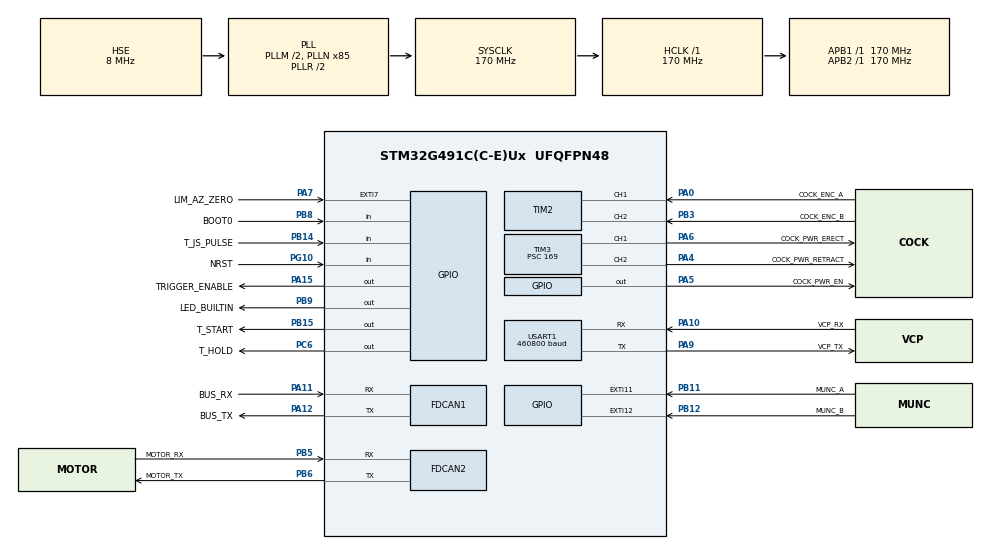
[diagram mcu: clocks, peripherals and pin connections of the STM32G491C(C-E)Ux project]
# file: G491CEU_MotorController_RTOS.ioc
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FDCAN1.ClockDivider=FDCAN_CLOCK_DIV1
FDCAN1.DataSyncJumpWidth=8
FDCAN1.DataTimeSeg1=8
FDCAN1.DataTimeSeg2=8
FDCAN1.ExtFiltersNbr=8
FDCAN1.NominalPrescaler=2
FDCAN1.NominalSyncJumpWidth=22
FDCAN1.NominalTimeSeg1=147
FDCAN1.NominalTimeSeg2=22
FDCAN1.StdFiltersNbr=28
FDCAN2.DataPrescaler=1
FDCAN2.DataSyncJumpWidth=16
FDCAN2.DataTimeSeg1=17
FDCAN2.DataTimeSeg2=16
FDCAN2.ExtFiltersNbr=8
FDCAN2.FrameFormat=FDCAN_FRAME_CLASSIC
FDCAN2.NominalSyncJumpWidth=22
FDCAN2.NominalTimeSeg1=147
FDCAN2.NominalTimeSeg2=22
FDCAN2.StdFiltersNbr=28
FREERTOS.INCLUDE_uxTaskGetStackHighWaterMark2=1
FREERTOS.INCLUDE_vTaskDelayUntil=1
FREERTOS.Mutexes01=mx_motor_state,Dynamic,NULL;mx_weapon_state,Dynamic,NULL
FREERTOS.Queues01=q_manager,6,uint16_t,0,Dynamic,NULL,NULL
FREERTOS.Tasks01=TManager,2,512,t_manager,As weak,NULL,Dynamic,NULL,NULL;TBus,-2,1024,t_bus,As external,NULL,Dynamic,NULL,NULL;TMotor,-1,1024,t_motor,As external,NULL,Dynamic,NULL,NULL;TWeapon,1,1024,t_weapon,As external,NULL,Dynamic,NULL,NULL
FREERTOS.Timers01=timWeapon,tim_weapon_callback,osTimerPeriodic,As external,NULL,Dynamic,NULL;timMotor,tim_motor_callback,osTimerPeriodic,As external,NULL,Dynamic,NULL
FREERTOS.configENABLE_FPU=1
FREERTOS.configMAX_TASK_NAME_LEN=64
FREERTOS.configMINIMAL_STACK_SIZE=256
FREERTOS.configTOTAL_HEAP_SIZE=0x10000
FREERTOS.configUSE_TIMERS=1
IWDG.Prescaler=IWDG_PRESCALER_256
IWDG.Reload=625
IWDG.Window=625
Mcu.Family=STM32G4
Mcu.Name=STM32G491C(C-E)Ux
Mcu.Package=UFQFPN48
Mcu.UserConstants=RTOS_USE_STACK_HIGH_WATER,0;START_ARR_60ms,6000;START_ARR_100ms,10000;START_ARR_300ms,30000
NVIC.EXTI15_10_IRQn=true\:5\:0\:false\:false\:false\:true\:true\:true\:true
NVIC.FDCAN1_IT0_IRQn=true\:5\:0\:true\:false\:true\:true\:true\:true\:true
NVIC.FDCAN2_IT0_IRQn=true\:5\:0\:true\:false\:true\:true\:true\:true\:true
NVIC.PriorityGroup=NVIC_PRIORITYGROUP_4
NVIC.TIM7_IRQn=true\:15\:0\:false\:false\:true\:false\:false\:true\:true
NVIC.TimeBase=TIM7_IRQn
NVIC.TimeBaseIP=TIM7
PA0.GPIO_Label=COCK_ENC_A
PA0.GPIO_PuPd=GPIO_PULLUP
PA0.Signal=S_TIM2_CH1
PA1.GPIO_Label=IMU_DE
PA1.Signal=USART2_DE
PA10.GPIO_Label=VCP_RX
PA10.GPIO_PuPd=GPIO_PULLUP
PA10.Mode=Asynchronous
PA10.Signal=USART1_RX
PA11.GPIO_Label=BUS_RX
PA11.GPIO_Speed=GPIO_SPEED_FREQ_VERY_HIGH
PA11.Mode=FDCAN_Activate
PA11.Signal=FDCAN1_RX
PA12.GPIO_Label=BUS_TX
PA12.GPIO_Speed=GPIO_SPEED_FREQ_VERY_HIGH
PA12.Mode=FDCAN_Activate
PA12.Signal=FDCAN1_TX
PA13.Mode=Serial_Wire
PA13.Signal=SYS_JTMS-SWDIO
PA14.Mode=Serial_Wire
PA14.Signal=SYS_JTCK-SWCLK
PA15.GPIO_Label=TRIGGER_ENABLE
PA15.GPIO_ModeDefaultOutputPP=GPIO_MODE_OUTPUT_PP
PA15.GPIO_PuPd=GPIO_NOPULL
PA15.PinState=GPIO_PIN_RESET
PA15.Signal=GPIO_Output
PA2.GPIO_Label=IMU_RX
PA2.Signal=USART2_TX
PA3.GPIO_Label=IMU_TX
PA3.GPIO_PuPd=GPIO_PULLUP
PA3.Signal=USART2_RX
PA4.GPIO_Label=COCK_PWR_RETRACT
PA4.Signal=S_TIM3_CH2
PA5.GPIO_Label=COCK_PWR_EN
PA5.GPIO_PuPd=GPIO_PULLDOWN
PA5.Signal=GPIO_Output
PA6.GPIO_Label=COCK_PWR_ERECT
PA6.Signal=S_TIM3_CH1
PA7.GPIO_Label=LIM_AZ_ZERO
PA7.GPIO_ModeDefaultEXTI=GPIO_MODE_IT_RISING_FALLING
PA7.GPIO_PuPd=GPIO_PULLUP
PA7.Signal=GPXTI7
PA9.GPIO_Label=VCP_TX
PA9.Mode=Asynchronous
PA9.Signal=USART1_TX
PB11.GPIO_Label=MUNC_A
PB11.GPIO_ModeDefaultEXTI=GPIO_MODE_IT_FALLING
PB11.GPIO_PuPd=GPIO_PULLUP
PB11.Signal=GPXTI11
PB12.GPIO_Label=MUNC_B
PB12.GPIO_ModeDefaultEXTI=GPIO_MODE_IT_FALLING
PB12.GPIO_PuPd=GPIO_PULLUP
PB12.Signal=GPXTI12
PB14.GPIO_Label=T_JS_PULSE
PB14.GPIO_PuPd=GPIO_PULLUP
PB14.Signal=GPIO_Input
PB15.GPIO_Label=T_START
PB15.Signal=GPIO_Output
PB3.GPIO_Label=COCK_ENC_B
PB3.GPIO_PuPd=GPIO_PULLUP
PB3.Signal=S_TIM2_CH2
PB5.GPIO_Label=MOTOR_RX
PB5.GPIO_Speed=GPIO_SPEED_FREQ_VERY_HIGH
PB5.Mode=FDCAN_Activate
PB5.Signal=FDCAN2_RX
PB6.GPIO_Label=MOTOR_TX
PB6.GPIO_Speed=GPIO_SPEED_FREQ_VERY_HIGH
PB6.Mode=FDCAN_Activate
PB6.Signal=FDCAN2_TX
PB8-BOOT0.GPIO_Label=BOOT0
PB8-BOOT0.GPIO_PuPd=GPIO_PULLDOWN
PB8-BOOT0.Signal=GPIO_Input
PB9.GPIO_Label=LED_BUILTIN
PB9.PinState=GPIO_PIN_SET
PB9.Signal=GPIO_Output
PC13.Signal=SYS_WKUP2
PC6.GPIO_Label=T_HOLD
PC6.Signal=GPIO_Output
PF0-OSC_IN.Mode=HSE-External-Oscillator
PF0-OSC_IN.Signal=RCC_OSC_IN
PF1-OSC_OUT.Mode=HSE-External-Oscillator
PF1-OSC_OUT.Signal=RCC_OSC_OUT
PG10-NRST.GPIO_Label=NRST
PG10-NRST.GPIO_PuPd=GPIO_PULLUP
PG10-NRST.Signal=GPIO_Input
ProjectManager.HeapSize=0x200
ProjectManager.StackSize=0x400
ProjectManager.TargetToolchain=STM32CubeIDE
RCC.ADC12Freq_Value=170000000
RCC.ADC345Freq_Value=170000000
RCC.AHBFreq_Value=170000000
RCC.APB1Freq_Value=170000000
RCC.APB1TimFreq_Value=170000000
RCC.APB2Freq_Value=170000000
RCC.APB2TimFreq_Value=170000000
RCC.CortexFreq_Value=170000000
RCC.EXTERNAL_CLOCK_VALUE=12288000
RCC.EnbaleCSS=true
RCC.HCLKFreq_Value=170000000
RCC.HSE_VALUE=8000000
RCC.HSI48_VALUE=48000000
RCC.HSI_VALUE=16000000
RCC.LSE_VALUE=32768
RCC.PLLM=RCC_PLLM_DIV2
RCC.PLLN=85
RCC.PLLSourceVirtual=RCC_PLLSOURCE_HSE
RCC.SYSCLKFreq_VALUE=170000000
RCC.SYSCLKSource=RCC_SYSCLKSOURCE_PLLCLK
RCC.USBFreq_Value=48000000
RCC.VCOOutputFreq_Value=340000000
SH.S_TIM2_CH1.0=TIM2_CH1,Encoder_Interface
SH.S_TIM2_CH2.0=TIM2_CH2,Encoder_Interface
SH.S_TIM3_CH1.0=TIM3_CH1,PWM Generation1 CH1
SH.S_TIM3_CH2.0=TIM3_CH2,PWM Generation2 CH2
TIM3.Channel-PWM\ Generation1\ CH1=TIM_CHANNEL_1
TIM3.Channel-PWM\ Generation2\ CH2=TIM_CHANNEL_2
TIM3.PeriodNoDither=999
TIM3.Prescaler=169
USART1.BaudRate=460800
USART1.VirtualMode-Asynchronous=VM_ASYNC
VP_FREERTOS_VS_CMSIS_V1.Mode=CMSIS_V1
VP_IWDG_VS_IWDG.Mode=IWDG_Activate
VP_SYS_VS_DBSignals.Mode=DisableDeadBatterySignals
VP_SYS_VS_tim7.Mode=TIM7
VP_TIM3_VS_ClockSourceINT.Mode=Internal
board=custom

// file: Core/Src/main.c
/* USER CODE BEGIN Header */
/**
 ******************************************************************************
 * @file           : main.c
 * @brief          : Main program body
 ******************************************************************************
 * @attention
 *
 * Copyright (c) 2022 STMicroelectronics.
 * All rights reserved.
 *
 * This software is licensed under terms that can be found in the LICENSE file
 * in the root directory of this software component.
 * If no LICENSE file comes with this software, it is provided AS-IS.
 *
 ******************************************************************************
 */
/* USER CODE END Header */
#include "main.h"
#include "cmsis_os.h"
#include "fdcan.h"
#include "iwdg.h"
#include "tim.h"
#include "usart.h"
#include "gpio.h"

/* USER CODE BEGIN Includes */
#include <stdio.h>
#include <string.h>

#include "app/common.h"
#include "driver/uartTerminal/uartTerminal.h"
#include "driver/bus_fdcan/bus_fdcan.h"
#include "driver/ingenia/ingenia.h"
#include "driver/weapon/trigger.h"
/* USER CODE END Includes */

/* USER CODE BEGIN PD */
#if DEBUG_ENABLE==1
/*** Internal Const Values, Macros ***/
#	define LOG(str, ...) printf("[%ld %s:%d] " str, HAL_GetTick(), __FILE_NAME__, __LINE__, ##__VA_ARGS__)
#	define LOG_E(str, ...) printf("[%s Err:%d] " str, __FILE_NAME__, __LINE__, ##__VA_ARGS__)
#else
#	define LOG(str, ...)
#	define LOG_E(str, ...)

#endif	//if DEBUG_ENABLE==1

/* USER CODE END PD */

/* USER CODE BEGIN PV */
reset_cause_e g_reset_cause = RESET_CAUSE_UNKNOWN;
/* USER CODE END PV */

void SystemClock_Config(void);
void MX_FREERTOS_Init(void);

/* USER CODE BEGIN 0 */
static reset_cause_e get_reset_source()
{
	reset_cause_e ret = RESET_CAUSE_UNKNOWN;

	if (__HAL_RCC_GET_FLAG(RCC_FLAG_LPWRRST))
		ret = RESET_CAUSE_LOW_POWER_RESET;
	else if (__HAL_RCC_GET_FLAG(RCC_FLAG_WWDGRST))
		ret = RESET_CAUSE_WINDOW_WATCHDOG_RESET;
	else if (__HAL_RCC_GET_FLAG(RCC_FLAG_IWDGRST))
		ret = RESET_CAUSE_INDEPENDENT_WATCHDOG_RESET;
	else if (__HAL_RCC_GET_FLAG(RCC_FLAG_SFTRST))
		/* This reset is induced by calling the ARM CMSIS */
		/* `NVIC_SystemReset()` function! */
		ret = RESET_CAUSE_SOFTWARE_RESET;
	else if (__HAL_RCC_GET_FLAG(RCC_FLAG_PINRST))
		ret = RESET_CAUSE_EXTERNAL_RESET_PIN_RESET;

	return ret;
}

/* USER CODE END 0 */

int main(void)
{
	/* USER CODE BEGIN 1 */
	g_reset_cause = get_reset_source();
	__HAL_RCC_CLEAR_RESET_FLAGS();
	/* USER CODE END 1 */

	/* MCU Configuration--------------------------------------------------------*/

	/* Reset of all peripherals, Initializes the Flash interface and the Systick. */
	HAL_Init();

	/* Configure the system clock */
	SystemClock_Config();

	/* Initialize all configured peripherals */
	MX_GPIO_Init();
	MX_USART1_UART_Init();
	MX_TIM2_Init();
	MX_TIM3_Init();
	MX_FDCAN1_Init();
	MX_FDCAN2_Init();
	MX_IWDG_Init();
	/* USER CODE BEGIN 2 */
	retarget_init();

	LOG("====\r\n");
	LOG("MotorController firmware!\r\n");
	LOG("====\r\n");

	if ((g_reset_cause == RESET_CAUSE_INDEPENDENT_WATCHDOG_RESET) || (g_reset_cause == RESET_CAUSE_SOFTWARE_RESET)) {
		LOG("system is reset from IWDG or s/w reset!\r\n");
	}

	if (g_reset_cause == RESET_CAUSE_EXTERNAL_RESET_PIN_RESET)
		LOG("do you reset this chip?\r\n");

	/* USER CODE END 2 */

	/* Call init function for freertos objects (in freertos.c) */
	MX_FREERTOS_Init();

	/* Start scheduler */
	osKernelStart();

	/* We should never get here as control is now taken by the scheduler */
	/* Infinite loop */
	while (1) {

	}
}

void SystemClock_Config(void)
{
	RCC_OscInitTypeDef RCC_OscInitStruct = { 0 };
	RCC_ClkInitTypeDef RCC_ClkInitStruct = { 0 };

	/** Configure the main internal regulator output voltage
	 */
	HAL_PWREx_ControlVoltageScaling(PWR_REGULATOR_VOLTAGE_SCALE1_BOOST);

	/** Initializes the RCC Oscillators according to the specified parameters
	 * in the RCC_OscInitTypeDef structure.
	 */
	RCC_OscInitStruct.OscillatorType = RCC_OSCILLATORTYPE_LSI | RCC_OSCILLATORTYPE_HSE;
	RCC_OscInitStruct.HSEState = RCC_HSE_ON;
	RCC_OscInitStruct.LSIState = RCC_LSI_ON;
	RCC_OscInitStruct.PLL.PLLState = RCC_PLL_ON;
	RCC_OscInitStruct.PLL.PLLSource = RCC_PLLSOURCE_HSE;
	RCC_OscInitStruct.PLL.PLLM = RCC_PLLM_DIV2;
	RCC_OscInitStruct.PLL.PLLN = 85;
	RCC_OscInitStruct.PLL.PLLP = RCC_PLLP_DIV2;
	RCC_OscInitStruct.PLL.PLLQ = RCC_PLLQ_DIV2;
	RCC_OscInitStruct.PLL.PLLR = RCC_PLLR_DIV2;
	if (HAL_RCC_OscConfig(&RCC_OscInitStruct) != HAL_OK) {
		Error_Handler();
	}

	/** Initializes the CPU, AHB and APB buses clocks
	 */
	RCC_ClkInitStruct.ClockType = RCC_CLOCKTYPE_HCLK | RCC_CLOCKTYPE_SYSCLK | RCC_CLOCKTYPE_PCLK1 | RCC_CLOCKTYPE_PCLK2;
	RCC_ClkInitStruct.SYSCLKSource = RCC_SYSCLKSOURCE_PLLCLK;
	RCC_ClkInitStruct.AHBCLKDivider = RCC_SYSCLK_DIV1;
	RCC_ClkInitStruct.APB1CLKDivider = RCC_HCLK_DIV1;
	RCC_ClkInitStruct.APB2CLKDivider = RCC_HCLK_DIV1;

	if (HAL_RCC_ClockConfig(&RCC_ClkInitStruct, FLASH_LATENCY_4) != HAL_OK) {
		Error_Handler();
	}

	/** Enables the Clock Security System
	 */
	HAL_RCC_EnableCSS();
}

/* USER CODE BEGIN 4 */
/* TODO User Functions */
uint32_t HAL_GetTick(void)
{
	return osKernelSysTick();
}

void HAL_Delay(uint32_t Delay)
{
	osDelay(Delay);
}

//void HAL_GPIO_EXTI_Callback(uint16_t GPIO_Pin)
//{
//	if (GPIO_Pin == T_JS_PULSE_Pin) {
//		trig_pulse_on();
//		t_js_counter++;
//	}
//}

void HAL_TIM_TriggerCallback(TIM_HandleTypeDef *htim)
{

//	if (htim->Instance == htim15.Instance) {
//		trig_start();
////		HAL_GPIO_WritePin(T_HOLD_GPIO_Port, T_HOLD_Pin, GPIO_PIN_SET);
////		MAIL_Weapon_t *pTMail;
////		// allocate memory; receiver must be free it
////		pTMail = osMailAlloc(mtr_get_mail(T_Weapon_id), 0);
////		pTMail->sender_id = Weapon_Sender_Sensor_Trigger_id;
////		pTMail->param.sensor.trigger.pulse_on = 1;
////
////		osMailPut(mtr_get_mail(T_Weapon_id), pTMail);
//	}

//	if (htim->Instance == htim15.Instance) {
//		if (firing_mode != FIRE_MODE_INF) {
//			__HAL_TIM_SET_COUNTER(&htim16, 0);
//			HAL_TIM_Base_Start_IT(&htim16);
//		}
//		HAL_GPIO_WritePin(T_HOLD_GPIO_Port, T_HOLD_Pin, GPIO_PIN_SET);
//		LOG("Trigger start!\r\n");
//	}

}

/**
 * @brief  Rx FIFO 0 callback.
 * @param  hfdcan pointer to an FDCAN_HandleTypeDef structure that contains
 *         the configuration information for the specified FDCAN.
 * @param  RxFifo0ITs indicates which Rx FIFO 0 interrupts are signalled.
 *         This parameter can be any combination of @arg FDCAN_Rx_Fifo0_Interrupts.
 * @retval None
 */
void HAL_FDCAN_RxFifo0Callback(FDCAN_HandleTypeDef *hfdcan, uint32_t RxFifo0ITs)
{
	FDCAN_RxHeaderTypeDef RxHeader;
	uint8_t RxData[64];
	BUS_Rx_Buffer_t bus_buffer;
	CAN_Data_t ingenia_buffer;

	if ((RxFifo0ITs & FDCAN_IT_RX_FIFO0_NEW_MESSAGE) != RESET) {
		if (hfdcan->Instance == hfdcan2.Instance) {
//			Ingenia_IRQHandler(hfdcan);
			/* Retrieve Rx messages from RX FIFO0 */
			if (HAL_FDCAN_GetRxMessage(hfdcan, FDCAN_RX_FIFO0, &RxHeader, RxData) == HAL_OK) {
				if (RxHeader.IdType == FDCAN_STANDARD_ID) {
					ingenia_buffer.id = RxHeader.Identifier;
					ingenia_buffer.len = FDCAN_Convert_Datalength(RxHeader.DataLength);
					memcpy(ingenia_buffer.rxData, RxData, ingenia_buffer.len);

					Ingenia_rx_callback(&ingenia_buffer);
				}
			}
		}
		else if (hfdcan->Instance == hfdcan1.Instance) {
			/* Retrieve Rx messages from RX FIFO0 */
			if (HAL_FDCAN_GetRxMessage(hfdcan, FDCAN_RX_FIFO0, &RxHeader, RxData) == HAL_OK) {
				if (RxHeader.IdType == FDCAN_STANDARD_ID) {
					bus_buffer.lastTimestamp = HAL_GetTick();
					bus_buffer.id = RxHeader.Identifier;
					bus_buffer.len = FDCAN_Convert_Datalength(RxHeader.DataLength);
					memcpy(bus_buffer.data, RxData, bus_buffer.len);
					bus_buffer.counter++;

					bus_rx_callback(&bus_buffer);
				}
			}
		}
	}

}

/**
 * @brief  Rx FIFO 1 callback.
 * @param  hfdcan pointer to an FDCAN_HandleTypeDef structure that contains
 *         the configuration information for the specified FDCAN.
 * @param  RxFifo1ITs indicates which Rx FIFO 1 interrupts are signalled.
 *         This parameter can be any combination of @arg FDCAN_Rx_Fifo1_Interrupts.
 * @retval None
 */
void HAL_FDCAN_RxFifo1Callback(FDCAN_HandleTypeDef *hfdcan, uint32_t RxFifo1ITs)
{
	/* Prevent unused argument(s) compilation warning */
	UNUSED(hfdcan);
	UNUSED(RxFifo1ITs);

	/* NOTE : This function Should not be modified, when the callback is needed,
	 the HAL_FDCAN_RxFifo1Callback could be implemented in the user file
	 */
}

/**
 * @brief  Error status callback.
 * @param  hfdcan pointer to an FDCAN_HandleTypeDef structure that contains
 *         the configuration information for the specified FDCAN.
 * @param  ErrorStatusITs indicates which Error Status interrupts are signaled.
 *         This parameter can be any combination of @arg FDCAN_Error_Status_Interrupts.
 * @retval None
 */
void HAL_FDCAN_ErrorStatusCallback(FDCAN_HandleTypeDef *hfdcan, uint32_t ErrorStatusITs)
{
	/* Prevent unused argument(s) compilation warning */
	if (hfdcan->Instance == hfdcan1.Instance) {
		MX_FDCAN1_Init();
		bus_init();
		LOG("\r\n===BUS ERROR!===\r\n\r\n");
	}
	else if (hfdcan->Instance == hfdcan2.Instance)
		mtr_error_callback();

	/* NOTE : This function Should not be modified, when the callback is needed,
	 the HAL_FDCAN_ErrorStatusCallback could be implemented in the user file
	 */
}

/* USER CODE END 4 */

void HAL_TIM_PeriodElapsedCallback(TIM_HandleTypeDef *htim)
{
	if (htim->Instance == TIM7) {
		HAL_IncTick();
	}
}

void Error_Handler(void)
{
	__disable_irq();
	while (1) {
	}
}

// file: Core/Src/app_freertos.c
/* USER CODE BEGIN Header */
/**
 ******************************************************************************
 * File Name          : app_freertos.c
 * Description        : Code for freertos applications
 ******************************************************************************
 * @attention
 *
 * Copyright (c) 2022 STMicroelectronics.
 * All rights reserved.
 *
 * This software is licensed under terms that can be found in the LICENSE file
 * in the root directory of this software component.
 * If no LICENSE file comes with this software, it is provided AS-IS.
 *
 ******************************************************************************
 */
/* USER CODE END Header */

#include "FreeRTOS.h"
#include "task.h"
#include "main.h"
#include "cmsis_os.h"

/* USER CODE BEGIN Includes */
#include "app/common.h"
/* USER CODE END Includes */

/* USER CODE BEGIN Variables */
osMailQId mail_busHandle;
osMailQId mail_motorHandle;
osMailQId mail_motorExtHandle;
osMailQId mail_weaponHandle;
/* USER CODE END Variables */
osThreadId TManagerHandle;
osThreadId TBusHandle;
osThreadId TMotorHandle;
osThreadId TWeaponHandle;
osMessageQId q_managerHandle;
osTimerId timWeaponHandle;
osTimerId timMotorHandle;
osMutexId mx_motor_stateHandle;
osMutexId mx_weapon_stateHandle;

/* USER CODE BEGIN FunctionPrototypes */
static void mail_setup();
/* USER CODE END FunctionPrototypes */

void t_manager(void const *argument);
extern void t_bus(void const *argument);
extern void t_motor(void const *argument);
extern void t_weapon(void const *argument);
extern void tim_weapon_callback(void const *argument);
extern void tim_motor_callback(void const *argument);

void MX_FREERTOS_Init(void); /* (MISRA C 2004 rule 8.1) */

void MX_FREERTOS_Init(void)
{
	/* Create the mutex(es) */
	/* definition and creation of mx_motor_state */
	osMutexDef(mx_motor_state);
	mx_motor_stateHandle = osMutexCreate(osMutex(mx_motor_state));

	/* definition and creation of mx_weapon_state */
	osMutexDef(mx_weapon_state);
	mx_weapon_stateHandle = osMutexCreate(osMutex(mx_weapon_state));

	/* Create the timer(s) */
	/* definition and creation of timWeapon */
	osTimerDef(timWeapon, tim_weapon_callback);
	timWeaponHandle = osTimerCreate(osTimer(timWeapon), osTimerPeriodic, NULL);

	/* definition and creation of timMotor */
	osTimerDef(timMotor, tim_motor_callback);
	timMotorHandle = osTimerCreate(osTimer(timMotor), osTimerPeriodic, NULL);

	/* Create the queue(s) */
	/* definition and creation of q_manager */
	osMessageQDef(q_manager, 6, uint16_t);
	q_managerHandle = osMessageCreate(osMessageQ(q_manager), NULL);

	/* USER CODE BEGIN RTOS_QUEUES */
	/* add queues, ... */
	mail_setup();
	/* USER CODE END RTOS_QUEUES */

	/* Create the thread(s) */
	/* definition and creation of TManager */
	osThreadDef(TManager, t_manager, osPriorityHigh, 0, 512);
	TManagerHandle = osThreadCreate(osThread(TManager), NULL);

	/* definition and creation of TBus */
	osThreadDef(TBus, t_bus, osPriorityLow, 0, 1024);
	TBusHandle = osThreadCreate(osThread(TBus), NULL);

	/* definition and creation of TMotor */
	osThreadDef(TMotor, t_motor, osPriorityNormal, 0, 1024);
	TMotorHandle = osThreadCreate(osThread(TMotor), NULL);

	/* definition and creation of TWeapon */
	osThreadDef(TWeapon, t_weapon, osPriorityAboveNormal, 0, 1024);
	TWeaponHandle = osThreadCreate(osThread(TWeapon), NULL);

}

__weak void t_manager(void const *argument)
{
	for ( ;; ) {
		osDelay(1);
	}
}

/* USER CODE BEGIN Application */
osMessageQId opt_get_queue(const Queue_ID qID)
{
	switch (qID)
	{
	case Q_MANAGER_NOTIF:
		return q_managerHandle;
	default:
		return 0;
	}
}

osMailQId mtr_get_mail(const Mail_ID id)
{
	if (id == Mail_Bus_id)
		return mail_busHandle;
	else if (id == Mail_Motor_id)
		return mail_motorHandle;
	else if (id == Mail_Weapon_id)
		return mail_weaponHandle;
	else if (id == Mail_Motor_Ext_id)
		return mail_motorExtHandle;

	return NULL;
}

osTimerId mtr_get_timer(const Timer_ID tID)
{
	switch (tID)
	{
	case Tim_Weapon_id:
		return timWeaponHandle;
	case Tim_Motor_id:
		return timMotorHandle;
	default:
		return NULL;
	}
}

osMutexId mtr_get_mutex(const Mutex_ID mId)
{
	switch (mId)
	{
	case Mutex_Motor_id:
		return mx_motor_stateHandle;
	case Mutex_Weapon_id:
		return mx_weapon_stateHandle;
	default:
		return NULL;
	}
}

static void mail_setup()
{
	/* Create the mail queue used by the command_proc tasks to pass the struct MAIL_Bus_t */
	osMailQDef(mail_bus, 10, MAIL_Bus_t); /* Define mail queue */
	mail_busHandle = osMailCreate(osMailQ(mail_bus), NULL); /* create mail queue */

	/* Create the mail queue used by the command_proc tasks to pass the struct MAIL_Motor_t */
	osMailQDef(mail_motor, 20, MAIL_Motor_t); /* Define mail queue */
	mail_motorHandle = osMailCreate(osMailQ(mail_motor), NULL); /* create mail queue */

	/* Create the mail queue used by the command_proc tasks to pass the struct MAIL_Motor_t */
	osMailQDef(mail_motor_ext, 10, MAIL_Motor_Ext_t); /* Define mail queue */
	mail_motorExtHandle = osMailCreate(osMailQ(mail_motor_ext), NULL); /* create mail queue */

	/* Create the mail queue used by the command_proc tasks to pass the struct MAIL_Weapon_t */
	osMailQDef(mail_weapon, 10, MAIL_Weapon_t); /* Define mail queue */
	mail_weaponHandle = osMailCreate(osMailQ(mail_weapon), NULL); /* create mail queue */

}

/* USER CODE END Application */
